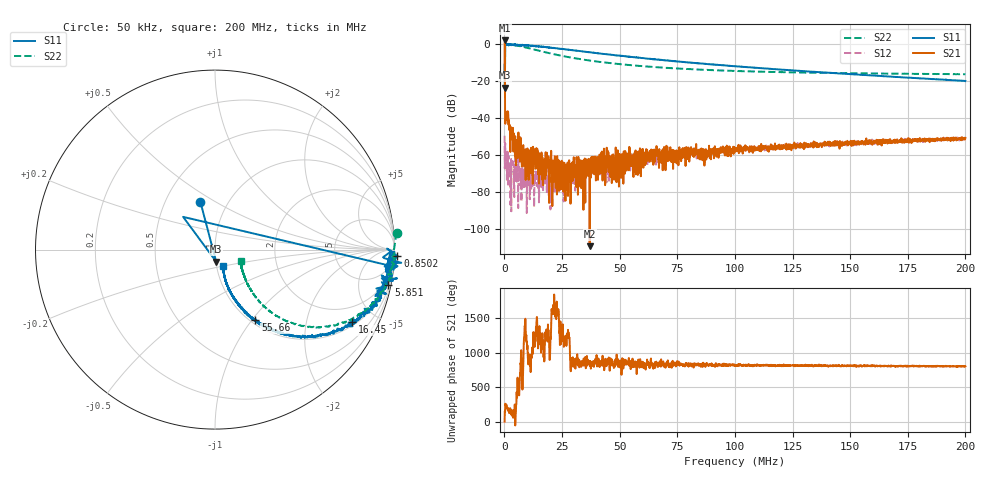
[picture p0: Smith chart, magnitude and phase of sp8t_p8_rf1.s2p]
! 26-Feb-26 1:09:24 PM
! E:\VNA_MEASUREMENTS\SP8T\SP8T_P8_RF1.S2P
! CHANNEL.1
! TR.MEASUREMENT
! CORRECTED.DATA
# GHZ S RI R 50.0
! FREQ.GHZ  S11RE  S11IM  S21RE  S21IM  S12RE  S12IM  S22RE  S22IM
!; PortSelection: Port_12
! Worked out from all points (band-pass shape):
!   2000 points, 50 kHz to 200 MHz, reference 50 ohm
!   highest |S21| = 2.16 dB at 150 kHz (marker M1); lowest = -109.4 dB at 36.96 MHz (marker M2)
!   |S21| within 3 dB of the highest: 133.3 kHz to 157.7 kHz (24.43 kHz wide, 16.8 % of centre)
!   lowest |S11| = -23.5 dB at 150 kHz (marker M3), VSWR 1.14, Z = 50.2 - j6.73 ohm
!   |S11| at or under -10 dB: start of sweep to 266 kHz; 81.82798 MHz to 82.16103 MHz (333.1 kHz wide, 0.406 % of centre); 82.38 MHz to end of sweep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
!   |S22| runs from -16.2 to 0.1 dB; largest |S21 - S12| = 1.3
!   S11 on the Smith chart (normalised r, x): 50 kHz: 0.74, +0.43; 850.2 kHz: -25, -48; 5.851 MHz: 0.66, -9.79; 16.45 MHz: 1.15, -3.68; 55.66 MHz: 1.05, -1.04; 200 MHz: 1.08, -0.20
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5e-05  -0.0818 0.2674  0.1629 0.0102  0.00024 -0.00333  1.011 0.0944
0.000150025  0.0063 -0.0668  -1.185 0.4923  -0.000361 -0.000231  0.9971 -0.000761
0.0008502  1.017 -0.0334  -0.00387 -0.00823  -0.00012 -0.000729  0.9958 -0.051
0.0012503  0.9898 -0.0559  -0.015 -0.00299  0.000144 0.00105  0.9993 -0.0806
0.001950475  0.9786 -0.0121  -0.00492 0.00347  -0.000282 0.000316  0.9835 -0.12
0.004851201  0.9408 -0.1622  -0.000182 0.00111  -0.00063 6.13e-05  0.8934 -0.2758
0.005851451  0.9662 -0.1986  0.000162 0.00103  0.000333 0.000724  0.8646 -0.3153
0.009452351  0.9007 -0.2838  -0.000428 -8e-07  0.000182 -2.1e-06  0.7141 -0.4081
0.01335333  0.8262 -0.3633  9.43e-05 0.000735  -0.000298 -0.000126  0.5706 -0.4325
0.0164541  0.7637 -0.4052  -0.00078 -0.000353  -0.000322 0.000121  0.4807 -0.4258
0.01825455  0.7166 -0.4376  -0.000276 -0.000659  0.000139 0.000201  0.4396 -0.4128
0.02385595  0.6011 -0.4739  -0.000214 -0.000276  -0.000299 -1.89e-05  0.3445 -0.3711
0.02595648  0.5649 -0.4793  -0.000398 0.00047  -0.000252 6.22e-05  0.319 -0.3538
0.02905725  0.5119 -0.4875  -0.000316 -0.000155  -0.000116 0.000247  0.2888 -0.3295
0.03345835  0.4399 -0.4795  -0.000528 0.000302  -0.000245 0.000302  0.2576 -0.3001
0.03695923  0.391 -0.4722  -7e-07 3.3e-06  -0.000243 0.000236  0.2374 -0.279
0.05566391  0.2256 -0.3929  -0.000856 0.000505  -0.000476 0.000368  0.185 -0.1977
0.06676668  0.1684 -0.3506  -0.000323 0.000682  -0.000395 0.000726  0.1712 -0.168
0.100075  0.088 -0.2422  -0.000251 0.0012  -0.000272 0.00137  0.1522 -0.1159
0.1333833  0.0592 -0.1731  -0.000655 0.00195  -6.7e-06 0.0018  0.1466 -0.0892
0.1666917  0.0491 -0.1257  -0.000277 0.00257  7.09e-05 0.00219  0.1441 -0.0738
0.2  0.0461 -0.091  0.000237 0.00293  0.000243 0.00272  0.1422 -0.0623
